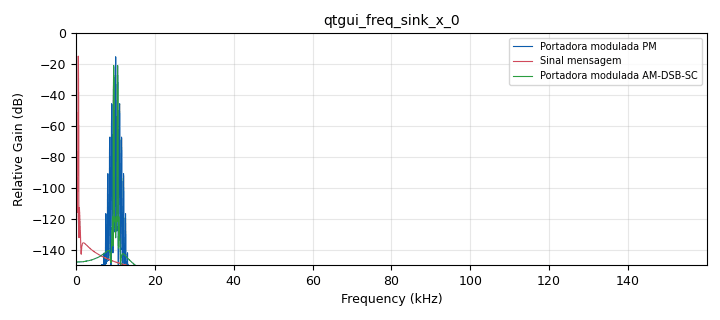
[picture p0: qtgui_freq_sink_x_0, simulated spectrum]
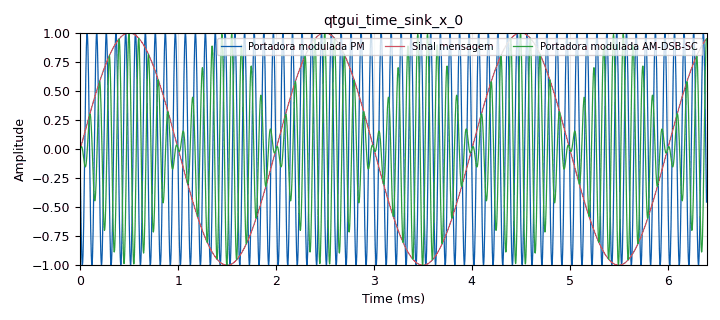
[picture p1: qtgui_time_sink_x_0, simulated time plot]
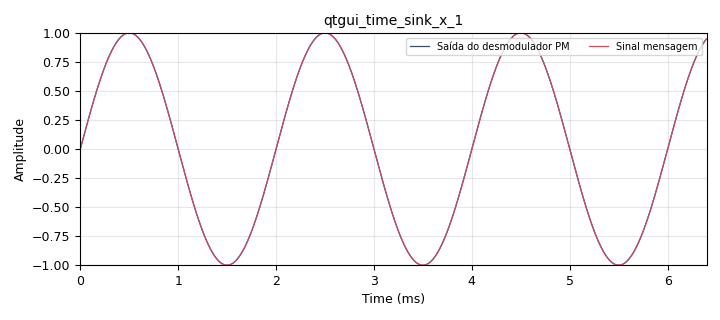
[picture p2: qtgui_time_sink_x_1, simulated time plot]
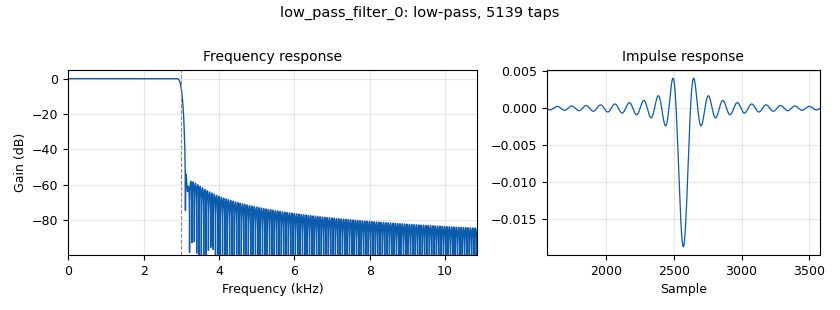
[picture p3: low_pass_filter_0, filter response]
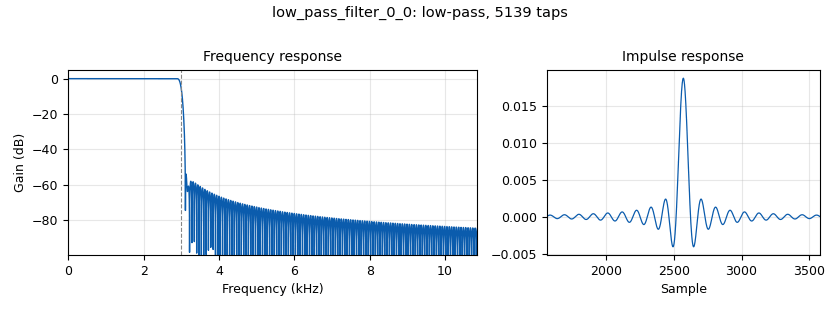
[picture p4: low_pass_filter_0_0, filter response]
options:
  parameters:
    author: Edson P. da Silva
    generate_options: qt_gui
    id: pm
    output_language: python
    title: Modulação/Desmodulação PM
  states: {}

blocks:
- name: f
  id: variable_qtgui_range
  parameters:
    label: Frequência do sinal mensagem
    start: '0'
    step: '10'
    stop: '1000'
    value: '500'
  states: {}
- name: fc
  id: variable_qtgui_range
  parameters:
    label: Frequência da portadora (fc)
    start: '0'
    step: '100'
    stop: '30000'
    value: '10000'
  states: {}
- name: kp
  id: variable_qtgui_range
  parameters:
    label: Parâmetro Kp
    start: '0.05'
    step: '0.01'
    stop: '10'
    value: '0.5'
  states: {}
- name: samp_rate
  id: variable
  parameters:
    value: '320000'
  states: {}
- name: analog_sig_source_x_0
  id: analog_sig_source_x
  parameters:
    amp: '1'
    freq: f
    offset: '0'
    phase: '0'
    samp_rate: samp_rate
    type: float
    waveform: analog.GR_COS_WAVE
  states: {}
- name: analog_sig_source_x_0_0
  id: analog_sig_source_x
  parameters:
    amp: '1'
    freq: fc
    offset: '0'
    phase: '0'
    samp_rate: samp_rate
    type: complex
    waveform: analog.GR_COS_WAVE
  states: {}
- name: blocks_complex_to_imag_0
  id: blocks_complex_to_imag
  parameters: {}
  states: {}
- name: blocks_complex_to_real_0
  id: blocks_complex_to_real
  parameters: {}
  states: {}
- name: blocks_divide_xx_0
  id: blocks_divide_xx
  parameters:
    type: float
  states: {}
- name: blocks_multiply_const_vxx_0
  id: blocks_multiply_const_vxx
  parameters:
    const: kp
    type: float
  states: {}
- name: blocks_multiply_const_vxx_0_0
  id: blocks_multiply_const_vxx
  parameters:
    const: 1/kp
    type: float
  states: {}
- name: blocks_multiply_xx_0
  id: blocks_multiply_xx
  parameters:
    type: float
  states: {}
- name: blocks_multiply_xx_0_0
  id: blocks_multiply_xx
  parameters:
    type: float
  states: {}
- name: blocks_multiply_xx_0_0_0
  id: blocks_multiply_xx
  parameters:
    type: float
  states: {}
- name: blocks_multiply_xx_0_0_0_0
  id: blocks_multiply_xx
  parameters:
    type: float
  states: {}
- name: blocks_multiply_xx_0_0_0_0_0
  id: blocks_multiply_xx
  parameters:
    type: float
  states: {}
- name: blocks_sub_xx_0
  id: blocks_sub_xx
  parameters:
    type: float
  states: {}
- name: blocks_throttle_0
  id: blocks_throttle
  parameters:
    samples_per_second: samp_rate
    type: float
  states: {}
- name: blocks_transcendental_0
  id: blocks_transcendental
  parameters:
    name: cos
    type: float
  states: {}
- name: blocks_transcendental_1
  id: blocks_transcendental
  parameters:
    name: sin
    type: float
  states: {}
- name: blocks_transcendental_2
  id: blocks_transcendental
  parameters:
    name: atan
    type: float
  states: {}
- name: low_pass_filter_0
  id: low_pass_filter
  parameters:
    cutoff_freq: '3000'
    decim: '1'
    gain: '-1'
    samp_rate: samp_rate
    type: fir_filter_fff
    width: '150'
    win: window.WIN_HAMMING
  states: {}
- name: low_pass_filter_0_0
  id: low_pass_filter
  parameters:
    cutoff_freq: '3000'
    decim: '1'
    gain: '1'
    samp_rate: samp_rate
    type: fir_filter_fff
    width: '150'
    win: window.WIN_HAMMING
  states: {}
- name: low_pass_filter_0_1
  id: low_pass_filter
  parameters:
    cutoff_freq: '3000'
    decim: '1'
    gain: '1'
    samp_rate: samp_rate
    type: fir_filter_fff
    width: '150'
    win: window.WIN_HAMMING
  states: {}
- name: low_pass_filter_0_1_0
  id: low_pass_filter
  parameters:
    cutoff_freq: '3000'
    decim: '1'
    gain: '1'
    samp_rate: samp_rate
    type: fir_filter_fff
    width: '150'
    win: window.WIN_HAMMING
  states: {}
- name: qtgui_freq_sink_x_0
  id: qtgui_freq_sink_x
  parameters:
    bw: samp_rate
    fc: '0'
    fftsize: '8192'
    freqhalf: 'False'
    grid: 'True'
    gui_hint: 0,0,1,2
    label1: Portadora modulada PM
    label2: Sinal mensagem
    label3: Portadora modulada AM-DSB-SC
    nconnections: '3'
    type: float
    ymax: '0'
    ymin: '-150'
  states: {}
- name: qtgui_time_sink_x_0
  id: qtgui_time_sink_x
  parameters:
    entags: 'False'
    gui_hint: 0,2,1,2
    label1: Portadora modulada PM
    label2: Sinal mensagem
    label3: Portadora modulada AM-DSB-SC
    nconnections: '3'
    size: '2048'
    srate: samp_rate
    tr_chan: '1'
    tr_mode: qtgui.TRIG_MODE_AUTO
    type: float
    width2: '2'
  states: {}
- name: qtgui_time_sink_x_1
  id: qtgui_time_sink_x
  parameters:
    grid: 'True'
    gui_hint: 2,0,1,4
    label1: Saída do desmodulador PM
    label2: Sinal mensagem
    nconnections: '2'
    size: '2048'
    srate: samp_rate
    tr_chan: '1'
    tr_mode: qtgui.TRIG_MODE_AUTO
    type: float
  states: {}

connections:
- [analog_sig_source_x_0, '0', low_pass_filter_0_0, '0']
- [analog_sig_source_x_0_0, '0', blocks_complex_to_imag_0, '0']
- [analog_sig_source_x_0_0, '0', blocks_complex_to_real_0, '0']
- [blocks_complex_to_imag_0, '0', blocks_multiply_xx_0_0, '0']
- [blocks_complex_to_imag_0, '0', blocks_multiply_xx_0_0_0, '1']
- [blocks_complex_to_imag_0, '0', blocks_multiply_xx_0_0_0_0_0, '1']
- [blocks_complex_to_real_0, '0', blocks_multiply_xx_0, '1']
- [blocks_complex_to_real_0, '0', blocks_multiply_xx_0_0_0_0, '1']
- [blocks_divide_xx_0, '0', blocks_transcendental_2, '0']
- [blocks_multiply_const_vxx_0, '0', blocks_transcendental_0, '0']
- [blocks_multiply_const_vxx_0, '0', blocks_transcendental_1, '0']
- [blocks_multiply_const_vxx_0_0, '0', qtgui_time_sink_x_1, '0']
- [blocks_multiply_xx_0, '0', blocks_sub_xx_0, '0']
- [blocks_multiply_xx_0_0, '0', blocks_sub_xx_0, '1']
- [blocks_multiply_xx_0_0_0, '0', low_pass_filter_0, '0']
- [blocks_multiply_xx_0_0_0_0, '0', low_pass_filter_0_1, '0']
- [blocks_multiply_xx_0_0_0_0_0, '0', qtgui_freq_sink_x_0, '2']
- [blocks_multiply_xx_0_0_0_0_0, '0', qtgui_time_sink_x_0, '2']
- [blocks_sub_xx_0, '0', blocks_multiply_xx_0_0_0, '0']
- [blocks_sub_xx_0, '0', blocks_multiply_xx_0_0_0_0, '0']
- [blocks_sub_xx_0, '0', qtgui_freq_sink_x_0, '0']
- [blocks_sub_xx_0, '0', qtgui_time_sink_x_0, '0']
- [blocks_throttle_0, '0', blocks_multiply_const_vxx_0, '0']
- [blocks_transcendental_0, '0', blocks_multiply_xx_0, '0']
- [blocks_transcendental_1, '0', blocks_multiply_xx_0_0, '1']
- [blocks_transcendental_2, '0', blocks_multiply_const_vxx_0_0, '0']
- [low_pass_filter_0, '0', blocks_divide_xx_0, '0']
- [low_pass_filter_0_0, '0', blocks_multiply_xx_0_0_0_0_0, '0']
- [low_pass_filter_0_0, '0', blocks_throttle_0, '0']
- [low_pass_filter_0_0, '0', low_pass_filter_0_1_0, '0']
- [low_pass_filter_0_0, '0', qtgui_freq_sink_x_0, '1']
- [low_pass_filter_0_0, '0', qtgui_time_sink_x_0, '1']
- [low_pass_filter_0_1, '0', blocks_divide_xx_0, '1']
- [low_pass_filter_0_1_0, '0', qtgui_time_sink_x_1, '1']

metadata:
  file_format: 1
  grc_version: 3.10.6.0
